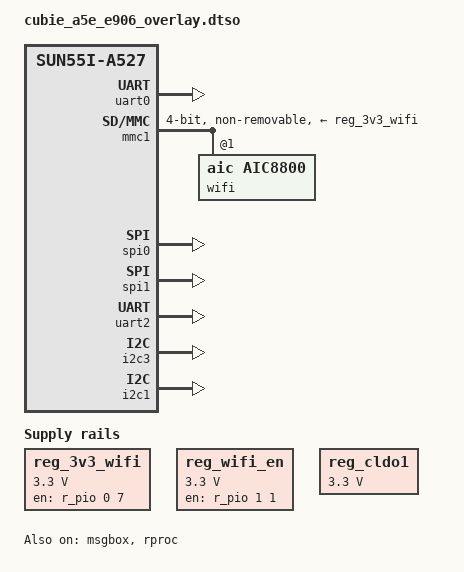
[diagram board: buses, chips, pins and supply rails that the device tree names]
// SPDX-License-Identifier: GPL-3.0-or-later
// @impl [SPEC-E906-ARCH-02] [SPEC-E906-HAL-01] targets/allwinner_e906/SPECIFICATION.md
/*
 * Copyright (C) 2026 Tim Michals
 *
 * AbstractX Radxa Cubie A5E (Allwinner A527 / T527) — XuanTie E906 & Flight Overlay
 * =================================================================================
 * Hardware Resource Partitioning:
 *
 * 1. XuanTie E906 RISC-V Co-Processor Domain (Hard Real-Time I/O Reactor):
 *    - SPI0: High-Speed Full-Duplex DMA Master to ICM-42688-P / FPGA (Port C)
 *            [Pins 19 (MOSI), 21 (MISO), 23 (CLK), 24 (CS0/FPGA), 26 (CS1/IMU)]
 *    - SPI1: High-Speed Secondary SPI Link [Pins 35 (MISO), 38 (MOSI), 40 (CLK), 12 (CS0)]
 *    - UART2: High-speed streaming serial GPS / CRSF link [Pins 11 (TX) & 13 (RX)]
 *    - I2C3 (TWI3): Fast-Mode (400 kHz) sensor bus for QMC5883L / BMP388 [Pins 27 & 28]
 *    - I2C1 (TWI1): Expansion I2C Bus [Pins 3 & 5]
 *    - GPIO DRDY: Pin 29 rising-edge data ready interrupt (Direct Auto-DMA trigger)
 *    - MSGBOX: Inter-core hardware doorbell for signaling Linux host
 *    - SRAM A3: Dedicated 256 KB on-chip SRAM Space 0 at ARM64 physical 0x07280000
 *
 *    NOTE: To allow Linux to setup pinctrl (pin multiplexing) and clock tree
 *    routing without attaching kernel device drivers (which would conflict with
 *    bare-metal E906 execution), SPI0, SPI1, UART2, I2C1, and I2C3 are bound
 *    to "generic-uio".
 *
 * 2. ARM Cortex-A55 Linux Host Domain (Flight Controller, Telemetry & Network):
 *    - UART0: Diagnostic / serial debug console terminal [Pins 8 (TX) & 10 (RX)]
 *    - MMC1 + AIC8800: SDIO Wi-Fi 6 / Bluetooth hardware power rails & transport
 *      for CTF 1.8 UDP :9870 telemetry streaming and SSH access
 *    - MSGBOX + RemoteProc: Lifecycle management and IPC doorbells
 *
 * Physical 40-Pin Header Layout Mapping on Radxa Cubie A5E (Schematic v1.2):
 *
 *                  3.3V Power [ 1] [ 2] 5V Power (Red Wire -> GPS VCC)
 *   (Blue Wire)  I2C1-SDA PB5 [ 3] [ 4] 5V Power
 * (Orange Wire)  I2C1-SCL PB4 [ 5] [ 6] GND      (Black Wire -> GPS GND)
 *               SPI2-CLK  PI7 [ 7] [ 8] UART0-TX (PB9 - Linux Serial Console)
 *                         GND [ 9] [10] UART0-RX (PB10 - Linux Serial Console)
 *               GPIO/PWM  PI9 [11] [12] SPI1-CS0 (PI2 / Alternate)
 *               GPIO/PWM PI10 [13] [14] GND
 *               S-UART0-TX PL12[15][16] UART3-TX (PI11 - A5E TX -> GPS RX Yellow Wire)
 *                  3.3V Power [17] [18] GPIO/PWM (PI14)
 *   [Dual-SPI]  SPI1-MOSI PB13[19] [20] GND
 *   [Dual-SPI]  SPI1-MISO PB14[21] [22] FPGA Frame Ready ISR (PL13)
 *   [Dual-SPI]  SPI1-CLK  PB12[23] [24] SPI1-CS0 (PB11 - FPGA Chip Select)
 *                         GND [25] [26] UART4-TX / IMU-CS1 (PI0)
 *               I2C2-SDA PI16 [27] [28] I2C2-SCK (PI15)
 *      IMU DRDY (PI8 / EINT8) [29] [30] GND
 * (GPS TX Green Wire) UART3-RX[31] [32] UART4-RX (PI1)
 *               SPI2-CS0  PI6 [33] [34] GND
 *               GPIO     PI13 [35] [36] SPI1-CLK (PI3)
 *               GPADC2        [37] [38] SPI1-MISO (PI5)
 *                         GND [39] [40] SPI1-MOSI (PI4)
 *
 * Compilation & Application:
 *   dtc -@ -I dts -O dtb -o cubie_a5e_e906_overlay.dtbo cubie_a5e_e906_overlay.dtso
 *   sudo cp cubie_a5e_e906_overlay.dtbo /boot/dtb/overlay/
 * =================================================================================
 */

/dts-v1/;
/plugin/;

/ {
    compatible = "radxa,cubie-a5e", "allwinner,sun55i-a527", "allwinner,sun60iw2p1";
    description = "AbstractX XuanTie E906 RemoteProc, UIO Clocks & Wi-Fi Overlay";
};

/* 
 * ----------------------------------------------------------------------------
 * 1. Dedicated Linux Host Peripherals & Console Lock
 * ----------------------------------------------------------------------------
 */

&{/aliases} {
    serial0 = "/soc/serial@2500000"; /* UART0 permanently locked as /dev/ttyS0 debug console */
    serial2 = "/soc/serial@2500800"; /* UART2 on Pins 11 & 13 */
};

/* UART0: Linux Host Serial Debug Console (Pins 8 & 10) */
&uart0 {
    status = "okay";
};

/* 
 * ----------------------------------------------------------------------------
 * 2. On-Board AIC8800 SDIO Wi-Fi 6 Hardware Regulators & MMC1
 * ----------------------------------------------------------------------------
 */

&{/} {
    #address-cells = <2>;
    #size-cells = <2>;
    ranges;

    /* PL7 (Bank 0, Pin 7, Active High): Hardware 3.3V Power Switch for AIC8800 Wi-Fi/BT */
    reg_3v3_wifi: 3v3-wifi {
        compatible = "regulator-fixed";
        regulator-name = "3v3-wifi";
        regulator-min-microvolt = <3300000>;
        regulator-max-microvolt = <3300000>;
        gpio = <&r_pio 0 7 0>;
        enable-active-high;
        regulator-always-on;
    };

    /* PM1 (Bank 1, Pin 1, Active High): Hardware Enable / WL_REG_ON */
    reg_wifi_en: wifi-en {
        compatible = "regulator-fixed";
        regulator-name = "wifi-en";
        regulator-min-microvolt = <3300000>;
        regulator-max-microvolt = <3300000>;
        gpio = <&r_pio 1 1 0>;
        enable-active-high;
        regulator-always-on;
        startup-delay-us = <100000>;
    };

    reserved-memory {
        #address-cells = <2>;
        #size-cells = <2>;
        ranges;

        /* Dedicated on-chip SRAM A3 Space 0 (ARM64 physical 0x07280000, 256 KB) */
        e906_sram0_reserved: sram@7280000 {
            reg = <0x0 0x07280000 0x0 0x00040000>;
            no-map;
        };

        /* Non-cacheable shared DMA / Vring pool in DDR (0x48000000, 1 MB) */
        rproc_vdev_reserved: vdev@48000000 {
            reg = <0x0 0x48000000 0x0 0x00100000>;
            no-map;
        };
    };
};

/* Ensure Port C (VCC-PC) and Port K (VCC-PK) IO rail stay at 3.3V */
&reg_cldo1 {
    regulator-min-microvolt = <3300000>;
    regulator-max-microvolt = <3300000>;
    regulator-always-on;
};

&reg_bldo1 {
    regulator-always-on;
};

/* MMC1: AIC8800 SDIO WLAN host controller */
&mmc1 {
    #address-cells = <1>;
    #size-cells = <0>;
    bus-width = <4>;
    max-frequency = <25000000>;
    non-removable;
    keep-power-in-suspend;
    pinctrl-names = "default";
    pinctrl-0 = <&mmc1_pins>;
    vmmc-supply = <&reg_3v3_wifi>;
    vqmmc-supply = <&reg_bldo1>;
    status = "okay";

    wifi: wifi@1 {
        reg = <1>;
        compatible = "aic,aic8800";
        status = "okay";
    };
};

/* 
 * ----------------------------------------------------------------------------
 * 3. Peripherals Claimed by E906 with Linux Pinctrl & Clocks Initialized via UIO
 *    (Binding to generic-uio configures pinmux and clocks without attaching
 *     standard kernel drivers, preventing bus contention and register resets)
 * ----------------------------------------------------------------------------
 */

/* SPI0: High-Speed Primary IMU & Sensor Bus (Pins 19, 21, 23, 24, 26) */
&spi0 {
    compatible = "generic-uio";
    pinctrl-names = "default";
    status = "okay";
};

/* SPI1: High-Speed Secondary Expansion SPI Bus (Pins 35, 38, 40, 12) */
&spi1 {
    compatible = "generic-uio";
    pinctrl-names = "default";
    status = "okay";
};

/* UART2: High-Speed Navigation/Serial Bus (Pins 11 & 13) */
&uart2 {
    compatible = "generic-uio";
    pinctrl-names = "default";
    status = "okay";
};

/* I2C3 (TWI3): Magnetometer (QMC5883L) & Barometer (Pins 27 & 28) */
&i2c3 {
    compatible = "generic-uio";
    pinctrl-names = "default";
    status = "okay";
};

/* I2C1 (TWI1): General Expansion Bus (Pins 3 & 5) */
&i2c1 {
    compatible = "generic-uio";
    pinctrl-names = "default";
    status = "okay";
};


/* 
 * ----------------------------------------------------------------------------
 * 5. Inter-Processor Hardware Mailbox & RemoteProc Configuration
 * ----------------------------------------------------------------------------
 */
&msgbox {
    status = "okay";
};

&rproc {
    compatible = "allwinner,sun55i-a523-rproc";
    firmware-name = "e906_coprocessor.bin";
    memory-region = <&rproc_vdev_reserved>, <&e906_sram0_reserved>;
    mboxes = <&msgbox 8>, <&msgbox 9>;
    mbox-names = "rx", "tx";
    status = "okay";
};
